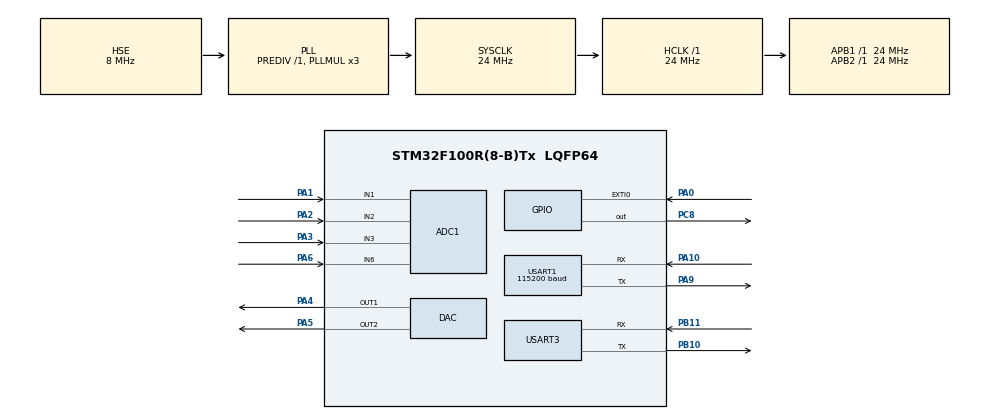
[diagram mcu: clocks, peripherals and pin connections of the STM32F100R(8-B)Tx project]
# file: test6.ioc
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ADC1.Channel=ADC_CHANNEL_3
ADC1.Channel-10\#ChannelRegularConversion=ADC_CHANNEL_3
ADC1.Channel-11\#ChannelRegularConversion=ADC_CHANNEL_6
ADC1.Channel-6\#ChannelRegularConversion=ADC_CHANNEL_1
ADC1.Channel-9\#ChannelRegularConversion=ADC_CHANNEL_2
ADC1.ContinuousConvMode=DISABLE
ADC1.DiscontinuousConvMode=DISABLE
ADC1.ExternalTrigConv=ADC_EXTERNALTRIGCONV_T3_TRGO
ADC1.ExternalTrigConvEdgeChoice=RISING
ADC1.NbrOfConversion=4
ADC1.Rank-10\#ChannelRegularConversion=3
ADC1.Rank-11\#ChannelRegularConversion=4
ADC1.Rank-6\#ChannelRegularConversion=1
ADC1.Rank-9\#ChannelRegularConversion=2
ADC1.SamplingTime-10\#ChannelRegularConversion=ADC_SAMPLETIME_1CYCLE_5
ADC1.SamplingTime-11\#ChannelRegularConversion=ADC_SAMPLETIME_1CYCLE_5
ADC1.SamplingTime-6\#ChannelRegularConversion=ADC_SAMPLETIME_1CYCLE_5
ADC1.SamplingTime-9\#ChannelRegularConversion=ADC_SAMPLETIME_1CYCLE_5
ADC1.master=1
Dma.ADC1.0.Direction=DMA_PERIPH_TO_MEMORY
Dma.ADC1.0.Instance=DMA1_Channel1
Dma.ADC1.0.MemDataAlignment=DMA_MDATAALIGN_HALFWORD
Dma.ADC1.0.MemInc=DMA_MINC_ENABLE
Dma.ADC1.0.Mode=DMA_CIRCULAR
Dma.ADC1.0.PeriphDataAlignment=DMA_PDATAALIGN_HALFWORD
Dma.ADC1.0.PeriphInc=DMA_PINC_DISABLE
Dma.ADC1.0.Priority=DMA_PRIORITY_HIGH
Dma.Request0=ADC1
Dma.Request1=USART1_RX
Dma.USART1_RX.1.Direction=DMA_PERIPH_TO_MEMORY
Dma.USART1_RX.1.Instance=DMA1_Channel5
Dma.USART1_RX.1.MemDataAlignment=DMA_MDATAALIGN_BYTE
Dma.USART1_RX.1.MemInc=DMA_MINC_DISABLE
Dma.USART1_RX.1.Mode=DMA_NORMAL
Dma.USART1_RX.1.PeriphDataAlignment=DMA_PDATAALIGN_BYTE
Dma.USART1_RX.1.PeriphInc=DMA_PINC_DISABLE
Dma.USART1_RX.1.Priority=DMA_PRIORITY_MEDIUM
Mcu.Family=STM32F1
Mcu.Name=STM32F100R(8-B)Tx
Mcu.Package=LQFP64
NVIC.ADC1_IRQn=true\:0\:0\:false
NVIC.DMA1_Channel1_IRQn=true\:0\:0\:false
NVIC.DMA1_Channel5_IRQn=true\:0\:0\:false
NVIC.EXTI0_IRQn=true\:0\:0\:false
NVIC.PriorityGroup=NVIC_PRIORITYGROUP_4
NVIC.TIM3_IRQn=true\:0\:0\:false
NVIC.TIM7_IRQn=true\:0\:0\:false
NVIC.USART1_IRQn=true\:0\:0\:false
NVIC.USART3_IRQn=true\:0\:0\:false
PA0-WKUP.GPIO_ModeDefaultEXTI=GPIO_MODE_IT_RISING
PA0-WKUP.GPIO_PuPd=GPIO_NOPULL
PA0-WKUP.Signal=GPXTI0
PA1.Signal=ADCx_IN1
PA10.Mode=Asynchronous
PA10.Signal=USART1_RX
PA2.Signal=ADCx_IN2
PA3.Signal=ADCx_IN3
PA4.Signal=COMP_DAC1_group
PA5.Signal=COMP_DAC2_group
PA6.Signal=ADCx_IN6
PA9.Mode=Asynchronous
PA9.Signal=USART1_TX
PB10.Mode=Asynchronous
PB10.Signal=USART3_TX
PB11.Mode=Asynchronous
PB11.Signal=USART3_RX
PC14-OSC32_IN.Mode=LSE-External-Oscillator
PC14-OSC32_IN.Signal=RCC_OSC32_IN
PC15-OSC32_OUT.Mode=LSE-External-Oscillator
PC15-OSC32_OUT.Signal=RCC_OSC32_OUT
PC8.Signal=GPIO_Output
PD0-OSC_IN.Mode=HSE-External-Oscillator
PD0-OSC_IN.Signal=RCC_OSC_IN
PD1-OSC_OUT.Mode=HSE-External-Oscillator
PD1-OSC_OUT.Signal=RCC_OSC_OUT
ProjectManager.TargetToolchain=TrueSTUDIO 4.3.1
RCC.AHBFreq_Value=24000000
RCC.APB1Freq_Value=24000000
RCC.APB1TimFreq_Value=24000000
RCC.APB2Freq_Value=24000000
RCC.APB2TimFreq_Value=24000000
RCC.HCLKFreq_Value=24000000
RCC.PLLMUL=RCC_PLL_MUL3
RCC.PLLSource=RCC_PLLSOURCE_HSE
RCC.SYSCLKFreq_VALUE=24000000
RCC.SYSCLKSource=RCC_SYSCLKSOURCE_PLLCLK
SH.ADCx_IN1.0=ADC1_IN1,IN1
SH.ADCx_IN2.0=ADC1_IN2,IN2
SH.ADCx_IN3.0=ADC1_IN3,IN3
SH.ADCx_IN6.0=ADC1_IN6,IN6
SH.COMP_DAC1_group.0=DAC_OUT1,DAC_OUT1
SH.COMP_DAC2_group.0=DAC_OUT2,DAC_OUT2
TIM3.Period=23
TIM3.Prescaler=999
TIM3.TIM_MasterOutputTrigger=TIM_TRGO_UPDATE
TIM7.Period=23
TIM7.Prescaler=999
USART1.BaudRate=115200
VP_TIM3_VS_ClockSourceINT.Mode=Internal
VP_TIM7_VS_ClockSourceINT.Mode=Enable_Timer
board=test6

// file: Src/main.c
/**
  ******************************************************************************
  * File Name          : main.c
  * Description        : Main program body
  ******************************************************************************
  *
  * COPYRIGHT(c) 2015 STMicroelectronics
  *
  * Redistribution and use in source and binary forms, with or without modification,
  * are permitted provided that the following conditions are met:
  *   1. Redistributions of source code must retain the above copyright notice,
  *      this list of conditions and the following disclaimer.
  *   2. Redistributions in binary form must reproduce the above copyright notice,
  *      this list of conditions and the following disclaimer in the documentation
  *      and/or other materials provided with the distribution.
  *   3. Neither the name of STMicroelectronics nor the names of its contributors
  *      may be used to endorse or promote products derived from this software
  *      without specific prior written permission.
  *
  * THIS SOFTWARE IS PROVIDED BY THE COPYRIGHT HOLDERS AND CONTRIBUTORS "AS IS"
  * AND ANY EXPRESS OR IMPLIED WARRANTIES, INCLUDING, BUT NOT LIMITED TO, THE
  * IMPLIED WARRANTIES OF MERCHANTABILITY AND FITNESS FOR A PARTICULAR PURPOSE ARE
  * DISCLAIMED. IN NO EVENT SHALL THE COPYRIGHT HOLDER OR CONTRIBUTORS BE LIABLE
  * FOR ANY DIRECT, INDIRECT, INCIDENTAL, SPECIAL, EXEMPLARY, OR CONSEQUENTIAL
  * DAMAGES (INCLUDING, BUT NOT LIMITED TO, PROCUREMENT OF SUBSTITUTE GOODS OR
  * SERVICES; LOSS OF USE, DATA, OR PROFITS; OR BUSINESS INTERRUPTION) HOWEVER
  * CAUSED AND ON ANY THEORY OF LIABILITY, WHETHER IN CONTRACT, STRICT LIABILITY,
  * OR TORT (INCLUDING NEGLIGENCE OR OTHERWISE) ARISING IN ANY WAY OUT OF THE USE
  * OF THIS SOFTWARE, EVEN IF ADVISED OF THE POSSIBILITY OF SUCH DAMAGE.
  *
  ******************************************************************************
  */
#include "stm32f1xx_hal.h"
#include "adc.h"
#include "dac.h"
#include "dma.h"
#include "tim.h"
#include "usart.h"
#include "gpio.h"

/* USER CODE BEGIN Includes */
#include "stdio.h"
#include "string.h"
#include "stdlib.h"

#define MAX(a,b) (a>b?a:b)
#define MIN(a,b) (a<b?a:b)
#define MAX_COMMAND_LENGTH 30
#define ADC_VECTOR_LENGTH 1200
/* USER CODE END Includes */

/* USER CODE BEGIN PV */
int sweepOutputValue = 0;
int sweepMaxOutputValue = 4095;
int sweepDirection = 1;
int sweepIncrement = 5;
int adcVectorPos = 0;
volatile int lengthOfLastSweep = 0;
int idleVoltage = 0;
volatile int sweepMinOutputValue = 1000;
int sweepWendAdcVoltage = 3000;
int inputValue;
volatile int sendData = 0;
int intPart,fracPart,i;
int size;
float adcVoltage1;

uint16_t adcValues[4];
uint8_t rxSerial[2];
uint8_t txSerial[20];
char tmpString[30];
char recievedCmd[MAX_COMMAND_LENGTH];

uint16_t adcVector[ADC_VECTOR_LENGTH];
HAL_StatusTypeDef status;

FLASH_EraseInitTypeDef eraseInitDef;

/* USER CODE END PV */

void SystemClock_Config(void);

/* USER CODE BEGIN PFP */
void Error_Handler(void);
void serial1Print(char * a);
int scmp(char * a,char * b, int * value);
void loadState(void);
void saveState(void);
int volt2Adc(float volt);
void serial1PrintVoltage(int inValue,char * format);

/* USER CODE END PFP */

int main(void)
{

  /* MCU Configuration----------------------------------------------------------*/

  /* Reset of all peripherals, Initializes the Flash interface and the Systick. */
  HAL_Init();

  /* Configure the system clock */
  SystemClock_Config();

  /* Initialize all configured peripherals */
  MX_GPIO_Init();
  MX_DMA_Init();
  MX_ADC1_Init();
  MX_DAC_Init();
  MX_TIM3_Init();
  MX_TIM7_Init();
  MX_USART1_UART_Init();
  MX_USART3_UART_Init();

  /* USER CODE BEGIN 2 */
  //saveState();
  /* load state */
  if ((*(uint32_t*)0x0800A000) != 0xFFFFFFFF)
	  loadState();

  /* Start Timer Channel1 */
  if (HAL_DAC_Start(&hdac,DAC_CHANNEL_1) != HAL_OK)
	  Error_Handler();
  if (HAL_ADC_Start_DMA(&hadc1, (uint32_t*)adcValues,4) != HAL_OK)
	  Error_Handler();
  if (HAL_UART_Receive_DMA(&huart1, rxSerial, 1) != HAL_OK )
	  Error_Handler();

  /* USER CODE END 2 */

  /* Infinite loop */
  while (1)
  {

  /* USER CODE BEGIN 3 */

	  if (sendData == 1)
	  {
		  for (i = 0;i<=lengthOfLastSweep;i+=2)
		  {
			  serial1PrintVoltage(adcVector[i],"%1d.%04d ");
			  serial1PrintVoltage(adcVector[i+1],"%1d.%04d\n");
		  }
		  sendData = 0;
	  }

  }
  /* USER CODE END 3 */

}

/** System Clock Configuration
*/
void SystemClock_Config(void)
{

  RCC_OscInitTypeDef RCC_OscInitStruct;
  RCC_ClkInitTypeDef RCC_ClkInitStruct;
  RCC_PeriphCLKInitTypeDef PeriphClkInit;

  RCC_OscInitStruct.OscillatorType = RCC_OSCILLATORTYPE_HSE;
  RCC_OscInitStruct.HSEState = RCC_HSE_ON;
  RCC_OscInitStruct.HSEPredivValue = RCC_HSE_PREDIV_DIV1;
  RCC_OscInitStruct.PLL.PLLState = RCC_PLL_ON;
  RCC_OscInitStruct.PLL.PLLSource = RCC_PLLSOURCE_HSE;
  RCC_OscInitStruct.PLL.PLLMUL = RCC_PLL_MUL3;
  HAL_RCC_OscConfig(&RCC_OscInitStruct);

  RCC_ClkInitStruct.ClockType = RCC_CLOCKTYPE_SYSCLK;
  RCC_ClkInitStruct.SYSCLKSource = RCC_SYSCLKSOURCE_PLLCLK;
  RCC_ClkInitStruct.AHBCLKDivider = RCC_SYSCLK_DIV1;
  RCC_ClkInitStruct.APB1CLKDivider = RCC_HCLK_DIV1;
  RCC_ClkInitStruct.APB2CLKDivider = RCC_HCLK_DIV1;
  HAL_RCC_ClockConfig(&RCC_ClkInitStruct, FLASH_LATENCY_0);

  PeriphClkInit.PeriphClockSelection = RCC_PERIPHCLK_ADC;
  PeriphClkInit.AdcClockSelection = RCC_ADCPCLK2_DIV2;
  HAL_RCCEx_PeriphCLKConfig(&PeriphClkInit);

  HAL_SYSTICK_Config(HAL_RCC_GetHCLKFreq()/1000);

  HAL_SYSTICK_CLKSourceConfig(SYSTICK_CLKSOURCE_HCLK);

  /* SysTick_IRQn interrupt configuration */
  HAL_NVIC_SetPriority(SysTick_IRQn, 0, 0);
}

/* USER CODE BEGIN 4 */

void HAL_ADC_ConvCpltCallback(ADC_HandleTypeDef* hadc)
{
	adcVector[adcVectorPos]   = sweepOutputValue;
	adcVector[adcVectorPos+1] = adcValues[0];
	if ( (adcValues[0] < sweepWendAdcVoltage) ||
	   (sweepOutputValue >= sweepMaxOutputValue)  )
	{
		sweepDirection = -1;
	}
	adcVectorPos += 2;
	adcVectorPos = MIN(adcVectorPos,850);

	if ( ( (sweepDirection == -1 ) &&
		   (sweepOutputValue <= sweepMinOutputValue) )||
		 (adcVectorPos == 850) )
	{
		HAL_TIM_Base_Stop_IT(&htim3);
		sweepDirection = 1;
		sendData = 1;
		sweepOutputValue = sweepMinOutputValue;
		lengthOfLastSweep = adcVectorPos-2;
		adcVectorPos = 0;
		if ( HAL_DAC_SetValue(&hdac, DAC_CHANNEL_1,DAC_ALIGN_12B_R, 0) != HAL_OK)
			Error_Handler();
	}
	else
	{
		if ( HAL_DAC_SetValue(&hdac, DAC_CHANNEL_1,DAC_ALIGN_12B_R, (uint32_t)sweepOutputValue) != HAL_OK)
			Error_Handler();

		sweepOutputValue += sweepDirection*sweepIncrement;
	}

	sweepOutputValue  = MIN(MAX(sweepOutputValue,sweepMinOutputValue),sweepMaxOutputValue);
}

void HAL_GPIO_EXTI_Callback(uint16_t GPIO_Pin)
{
	if(GPIO_Pin == GPIO_PIN_0)
	{
		if (HAL_TIM_Base_Start_IT(&htim3) != HAL_OK)
			 Error_Handler();
	}
}

void HAL_UART_RxCpltCallback(UART_HandleTypeDef *huart)
{
	static unsigned int pos  = 0;

	if ( (strncmp((const char *)rxSerial,"\r",1) == 0 ) ||
	     (pos == (MAX_COMMAND_LENGTH -1)) )
	{
		recievedCmd[pos] = '\0';
		pos = 0;
		if (strcmp(recievedCmd,"AT+SWEEP") == 0)
		{
			if ( HAL_DAC_SetValue(&hdac, DAC_CHANNEL_1,DAC_ALIGN_12B_R, (uint32_t)sweepOutputValue) != HAL_OK)
						Error_Handler();
			if (HAL_TIM_Base_Start_IT(&htim3) != HAL_OK)
				 Error_Handler();
		}
		else if (strcmp(recievedCmd,"AT") == 0)
		{
			serial1Print(" OK\n");
		}
		else if (strcmp(recievedCmd,"AT+HELP") == 0)
		{
			serial1Print("\nAvailable commands:\n\n \
					       AT\n \
					       AT+HELP\n \
					       AT+SAVE\n \
					       AT+SWEEP\n \
					       AT+SHOWSETTINGS\n \
					       AT+STARTVOLTAGE=#\n \
					       AT+ENDVOLTAGE=#\n \
					       AT+STEPSIZE=#\n\n");
		}
		else if(scmp(recievedCmd,"AT+STARTVOLTAGE=",&inputValue) == 0 )
		{
			sweepMinOutputValue = inputValue;
			serial1Print("Got: ");
			serial1PrintVoltage(sweepMinOutputValue,"%1d.%04dv");
			serial1Print(" OK\n");
		}
		else if(scmp(recievedCmd,"AT+ENDVOLTAGE=",&inputValue) == 0 )
		{
			sweepWendAdcVoltage = inputValue;
			serial1Print(" OK\n");
		}
		else if(scmp(recievedCmd,"AT+STEPSIZE=",&inputValue) == 0 )
		{
			sweepIncrement = inputValue;
			serial1Print(" OK\n");
		}
		else if(strcmp(recievedCmd,"AT+SAVE") == 0 )
		{
			saveState();
			serial1Print(" SETTINGS SAVED\n OK\n");
		}

	}
	else
	{
		recievedCmd[pos] = rxSerial[0];
		pos++;
	}
	if (HAL_UART_Receive_DMA(&huart1, rxSerial, 1) != HAL_OK )
		Error_Handler();
}

void saveState(void)
{
	uint32_t tmp;

	HAL_FLASH_Unlock();
	eraseInitDef.TypeErase = FLASH_TYPEERASE_PAGES;
	eraseInitDef.PageAddress = 0x0800A000;
	eraseInitDef.NbPages = 1;
	HAL_FLASHEx_Erase(&eraseInitDef,&tmp);
	HAL_FLASH_Lock();

	HAL_FLASH_Unlock();
	status = HAL_FLASH_Program(FLASH_TYPEPROGRAM_WORD, 0x0800A000, (uint64_t)sweepMinOutputValue);
	status = HAL_FLASH_Program(FLASH_TYPEPROGRAM_WORD, 0x0800A004, (uint64_t)sweepMaxOutputValue);
	status = HAL_FLASH_Program(FLASH_TYPEPROGRAM_WORD, 0x0800A008, (uint64_t)sweepIncrement);
	status = HAL_FLASH_Program(FLASH_TYPEPROGRAM_WORD, 0x0800A00C, (uint64_t)sweepWendAdcVoltage);
	//status = HAL_FLASH_Program(FLASH_TYPEPROGRAM_WORD, 0x0800A010, (uint64_t)sweepMinOutputValue);
	//status = HAL_FLASH_Program(FLASH_TYPEPROGRAM_WORD, 0x0800A014, (uint64_t)sweepMinOutputValue);
	//status = HAL_FLASH_Program(FLASH_TYPEPROGRAM_WORD, 0x0800A018, (uint64_t)sweepMinOutputValue);
	//status = HAL_FLASH_Program(FLASH_TYPEPROGRAM_WORD, 0x0800A01C, (uint64_t)sweepMinOutputValue);

	HAL_FLASH_Lock();
}

void loadState(void)
{
    sweepMinOutputValue = (*(int*)0x0800A000);
	sweepMaxOutputValue = (*(int*)0x0800A004);
	sweepIncrement      = (*(int*)0x0800A008);
	sweepWendAdcVoltage = (*(int*)0x0800A00C);
}

int scmp(char *a,char *b, int * value)
{
	*value = atoi(a + strlen(b));
	return strncmp(a,b,strlen(b));
}

void serial1Print(char * a)
{

	HAL_UART_Transmit(&huart1,(uint8_t *)a, (uint16_t)strlen(a), 50);
}

void serial1PrintVoltage(int inValue,char * format)
{
	  adcVoltage1 = 3.3*(float)inValue/4096.0;
	  intPart = (int)adcVoltage1;
	  fracPart = 10*((int)(1000.0*adcVoltage1) - intPart*1000);
	  size=snprintf( (char*)txSerial,9,format,intPart,fracPart);
	  HAL_UART_Transmit(&huart1,txSerial,size,20);
}

int volt2Adc(float volt)
{
	return (int)(volt);
}

void Error_Handler(void)
{
	while (1)
	{
		asm("nop");
	}
}
/* USER CODE END 4 */

/************************ (C) COPYRIGHT STMicroelectronics *****END OF FILE****/
